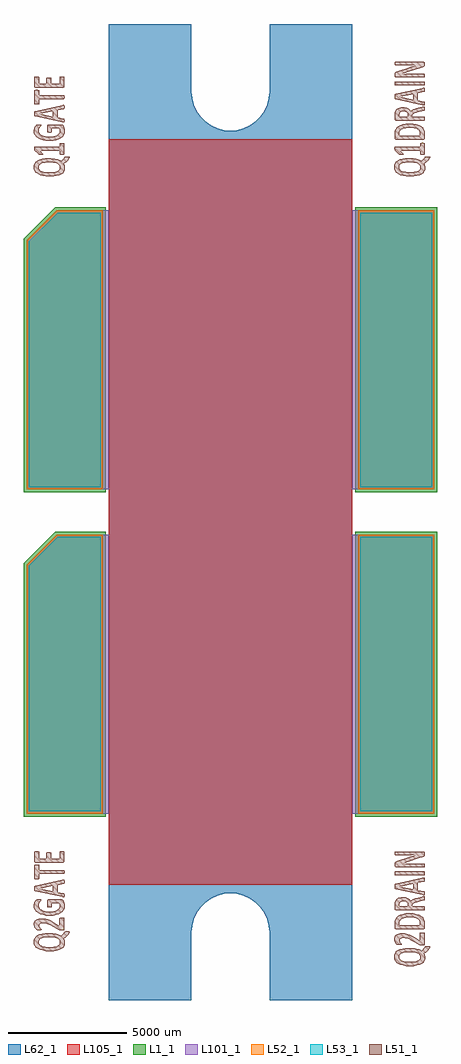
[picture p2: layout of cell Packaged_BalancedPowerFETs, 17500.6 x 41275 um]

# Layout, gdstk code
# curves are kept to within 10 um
import gdstk
lib = gdstk.Library(unit=1e-6, precision=1e-09)
def R(c, l, rs):  # rectangles x0, y0, x1, y1
    for r in rs: c.add(gdstk.rectangle(r[:2], r[2:], *l))
def P(c, l, *ps):  # polygons
    for p in ps: c.add(gdstk.Polygon(p, *l))
L1_1 = (1, 1)
L51_1 = (51, 1)
L52_1 = (52, 1)
L53_1 = (53, 1)
L62_1 = (62, 1)
L101_1 = (101, 1)
L105_1 = (105, 1)

packaged_balancedpowerfe = lib.new_cell('Packaged_BalancedPowerFETs')
R(packaged_balancedpowerfe, L1_1, [(10414,-12890.5,13893.8,-825.5), (10414,825.5,13893.8,12890.5)])
P(packaged_balancedpowerfe, L1_1, [(-3606.8,825.5),(-3606.8,11546.078),(-2262.378,12890.5),(-127,12890.5),(-127,825.5)],
  [(-3606.8,-12890.5),(-3606.8,-2169.922),(-2262.378,-825.5),(-127,-825.5),(-127,-12890.5)])
P(packaged_balancedpowerfe, L51_1, [(13435.711,-18364.073),(13364.972,-18383.885),(13324.713,-18448.401),(13216.636,-18546.445),(13070.205,-18481.294),(12792.075,-18439.765),(12541.504,-18439.765),(12299.823,-18488.787),(12141.581,-18583.656),(12065,-18722.086),(12065,-18907.633),(12157.329,-19052.159),(12329.287,-19150.203),(12575.921,-19199.86),(12900.152,-19199.86),(13146.786,-19153.378),(13306.044,-19060.287),(13323.189,-19028.664),(12627.991,-19028.664),(12467.844,-19008.09),(12347.956,-18958.56),(12277.217,-18877.788),(12277.217,-18758.027),(12341.098,-18678.652),(12458.065,-18630.9),(12621.133,-18610.961),(12812.776,-18610.961),(12975.844,-18631.535),(13097.764,-18681.192),(13168.503,-18761.837),(13168.503,-18882.233),(13106.527,-18961.608),(12988.671,-19008.725),(12821.539,-19028.664),(13323.189,-19028.664),(13381.736,-18920.587),(13381.736,-18777.331),(13330.555,-18667.476),(13487.781,-18553.303),(13589,-18409.92),(13589,-18384.52),(13558.52,-18368.391)],
  [(13435.711,15033.244),(13364.972,15013.432),(13324.713,14948.916),(13216.636,14850.872),(13070.205,14916.023),(12792.075,14957.552),(12541.504,14957.552),(12299.823,14908.53),(12141.581,14813.661),(12065,14675.231),(12065,14489.684),(12157.329,14345.158),(12329.287,14247.114),(12575.921,14197.457),(12900.152,14197.457),(13146.786,14243.939),(13306.044,14337.03),(13323.189,14368.653),(12627.991,14368.653),(12467.844,14389.227),(12347.956,14438.757),(12277.217,14519.529),(12277.217,14639.29),(12341.098,14718.665),(12458.065,14766.417),(12621.133,14786.356),(12812.776,14786.356),(12975.844,14765.782),(13097.764,14716.125),(13168.503,14635.48),(13168.503,14515.084),(13106.527,14435.709),(12988.671,14388.592),(12821.539,14368.653),(13323.189,14368.653),(13381.736,14476.73),(13381.736,14619.986),(13330.555,14729.841),(13487.781,14844.014),(13589,14987.397),(13589,15012.797),(13558.52,15028.926)],
  [(-1804.289,-17736.82),(-1875.028,-17756.632),(-1915.287,-17820.894),(-2023.364,-17918.43),(-2169.795,-17853.533),(-2447.925,-17812.258),(-2698.496,-17812.258),(-2940.177,-17861.026),(-3098.419,-17955.514),(-3175,-18093.182),(-3175,-18277.84),(-3082.671,-18421.858),(-2910.713,-18519.394),(-2664.079,-18568.797),(-2339.848,-18568.797),(-2093.214,-18522.442),(-1933.956,-18429.859),(-1916.811,-18398.363),(-2612.009,-18398.363),(-2772.156,-18377.916),(-2892.044,-18328.513),(-2962.783,-18248.249),(-2962.783,-18128.996),(-2898.902,-18050.002),(-2781.935,-18002.377),(-2618.867,-17982.692),(-2427.224,-17982.692),(-2264.156,-18003.012),(-2142.236,-18052.415),(-2071.497,-18132.806),(-2071.497,-18252.567),(-2133.473,-18331.561),(-2251.329,-18378.551),(-2418.461,-18398.363),(-1916.811,-18398.363),(-1858.264,-18290.921),(-1858.264,-18148.173),(-1909.445,-18038.826),(-1752.219,-17925.161),(-1651,-17782.54),(-1651,-17757.267),(-1681.48,-17741.138)],
  [(-1804.289,15029.18),(-1875.028,15009.368),(-1915.287,14945.106),(-2023.364,14847.57),(-2169.795,14912.467),(-2447.925,14953.742),(-2698.496,14953.742),(-2940.177,14904.974),(-3098.419,14810.486),(-3175,14672.818),(-3175,14488.16),(-3082.671,14344.142),(-2910.713,14246.606),(-2664.079,14197.203),(-2339.848,14197.203),(-2093.214,14243.558),(-1933.956,14336.141),(-1916.811,14367.637),(-2612.009,14367.637),(-2772.156,14388.084),(-2892.044,14437.487),(-2962.783,14517.751),(-2962.783,14637.004),(-2898.902,14715.998),(-2781.935,14763.623),(-2618.867,14783.308),(-2427.224,14783.308),(-2264.156,14762.988),(-2142.236,14713.585),(-2071.497,14633.194),(-2071.497,14513.433),(-2133.473,14434.439),(-2251.329,14387.449),(-2418.461,14367.637),(-1916.811,14367.637),(-1858.264,14475.079),(-1858.264,14617.827),(-1909.445,14727.174),(-1752.219,14840.839),(-1651,14983.46),(-1651,15008.733),(-1681.48,15024.862)],
  [(12135.739,-15720.06),(12095.48,-15734.411),(12084.685,-15758.541),(12084.685,-15908.655),(12116.054,-15940.405),(13295.249,-16199.104),(13359.13,-16190.468),(13364.972,-16102.965),(13350.24,-16052.038),(13069.189,-15990.57),(13069.189,-15954.629),(12870.688,-15954.629),(12330.303,-15841.091),(12870.688,-15726.918),(12870.688,-15954.629),(13069.189,-15954.629),(13069.189,-15689.072),(13353.161,-15625.191),(13364.972,-15509.113),(13360.019,-15474.315),(13339.445,-15460.726)],
  [(12135.739,17677.257),(12095.48,17662.906),(12084.685,17638.776),(12084.685,17488.662),(12116.054,17456.912),(13295.249,17198.213),(13359.13,17206.849),(13364.972,17294.352),(13350.24,17345.279),(13069.189,17406.747),(13069.189,17442.688),(12870.688,17442.688),(12330.303,17556.226),(12870.688,17670.399),(12870.688,17442.688),(13069.189,17442.688),(13069.189,17708.245),(13353.161,17772.126),(13364.972,17888.204),(13360.019,17923.002),(13339.445,17936.591)],
  [(-3104.261,-15808.579),(-3144.52,-15822.803),(-3155.315,-15846.933),(-3155.315,-15996.412),(-3123.946,-16027.908),(-1944.751,-16285.464),(-1880.87,-16276.828),(-1875.028,-16189.706),(-1889.76,-16139.033),(-2170.811,-16077.946),(-2170.811,-16042.132),(-2369.312,-16042.132),(-2909.697,-15929.102),(-2369.312,-15815.437),(-2369.312,-16042.132),(-2170.811,-16042.132),(-2170.811,-15777.718),(-1886.839,-15714.091),(-1875.028,-15598.648),(-1879.981,-15563.977),(-1900.555,-15550.388)],
  [(-3104.261,16957.421),(-3144.52,16943.197),(-3155.315,16919.067),(-3155.315,16769.588),(-3123.946,16738.092),(-1944.751,16480.536),(-1880.87,16489.172),(-1875.028,16576.294),(-1889.76,16626.967),(-2170.811,16688.054),(-2170.811,16723.868),(-2369.312,16723.868),(-2909.697,16836.898),(-2369.312,16950.563),(-2369.312,16723.868),(-2170.811,16723.868),(-2170.811,16988.282),(-1886.839,17051.909),(-1875.028,17167.352),(-1879.981,17202.023),(-1900.555,17215.612)],
  [(-3004.058,-16381.095),(-3081.655,-16405.225),(-3151.378,-16510.889),(-3173.984,-16596.106),(-3173.984,-16742.41),(-3081.655,-16896.207),(-2907.792,-17004.919),(-2659.126,-17064.228),(-2351.532,-17064.228),(-2112.772,-17008.602),(-1946.783,-16903.7),(-1859.28,-16752.316),(-1869.186,-16559.022),(-1941.83,-16395.954),(-1986.026,-16383),(-2541.27,-16383),(-2604.135,-16416.401),(-2604.135,-16701.643),(-2593.34,-16710.406),(-2452.751,-16719.677),(-2408.555,-16707.231),(-2408.555,-16544.798),(-2113.788,-16544.798),(-2074.545,-16620.744),(-2074.545,-16703.548),(-2131.441,-16795.623),(-2243.455,-16861.028),(-2409.571,-16897.477),(-2617.851,-16897.477),(-2781.935,-16861.663),(-2898.902,-16794.988),(-2962.783,-16701.135),(-2962.783,-16588.74),(-2927.35,-16506.571),(-2850.769,-16397.859)],
  [(-3004.058,16384.905),(-3081.655,16360.775),(-3151.378,16255.111),(-3173.984,16169.894),(-3173.984,16023.59),(-3081.655,15869.793),(-2907.792,15761.081),(-2659.126,15701.772),(-2351.532,15701.772),(-2112.772,15757.398),(-1946.783,15862.3),(-1859.28,16013.684),(-1869.186,16206.978),(-1941.83,16370.046),(-1986.026,16383),(-2541.27,16383),(-2604.135,16349.599),(-2604.135,16064.357),(-2593.34,16055.594),(-2452.751,16046.323),(-2408.555,16058.769),(-2408.555,16221.202),(-2113.788,16221.202),(-2074.545,16145.256),(-2074.545,16062.452),(-2131.441,15970.377),(-2243.455,15904.972),(-2409.571,15868.523),(-2617.851,15868.523),(-2781.935,15904.337),(-2898.902,15971.012),(-2962.783,16064.865),(-2962.783,16177.26),(-2927.35,16259.429),(-2850.769,16368.141)],
  [(12125.96,19038.57),(12100.433,19032.474),(12083.669,18988.405),(12088.622,18916.396),(12116.054,18891.504),(13008.229,18895.314),(12129.897,18604.23),(12087.606,18546.572),(12087.606,18410.682),(12133.834,18376.519),(13332.587,18376.519),(13359.13,18398.871),(13359.13,18499.963),(13332.587,18523.585),(12371.578,18518.632),(13310.87,18827.623),(13347.319,18854.293),(13361.035,18885.916),(13361.035,18989.04),(13326.618,19028.664)],
  [(12125.96,-14358.747),(12100.433,-14364.843),(12083.669,-14408.912),(12088.622,-14480.921),(12116.054,-14505.813),(13008.229,-14502.003),(12129.897,-14793.087),(12087.606,-14850.745),(12087.606,-14986.635),(12133.834,-15020.798),(13332.587,-15020.798),(13359.13,-14998.446),(13359.13,-14897.354),(13332.587,-14873.732),(12371.578,-14878.685),(13310.87,-14569.694),(13347.319,-14543.024),(13361.035,-14511.401),(13361.035,-14408.277),(13326.618,-14368.653)],
  [(12553.315,16418.179),(12323.445,16364.839),(12167.235,16262.477),(12087.606,16112.998),(12087.606,15779.115),(12125.96,15751.175),(13320.776,15751.175),(13359.13,15779.115),(13359.13,15913.735),(12290.044,15913.735),(12290.044,16071.342),(12353.925,16163.798),(12467.844,16222.726),(12623.165,16249.396),(12823.571,16249.396),(12988.671,16219.043),(13099.669,16157.575),(13154.66,16065.754),(13154.66,15913.735),(13359.13,15913.735),(13359.13,16098.012),(13285.343,16252.571),(13128.117,16360.521),(12879.578,16418.179)],
  [(12553.315,-16979.138),(12323.445,-17032.478),(12167.235,-17134.84),(12087.606,-17284.319),(12087.606,-17618.202),(12125.96,-17646.142),(13320.776,-17646.142),(13359.13,-17618.202),(13359.13,-17483.582),(12290.044,-17483.582),(12290.044,-17325.975),(12353.925,-17233.519),(12467.844,-17174.591),(12623.165,-17147.921),(12823.571,-17147.921),(12988.671,-17178.274),(13099.669,-17239.742),(13154.66,-17331.563),(13154.66,-17483.582),(13359.13,-17483.582),(13359.13,-17299.305),(13285.343,-17144.746),(13128.117,-17036.796),(12879.578,-16979.138)],
  [(-3075.813,-14918.055),(-3152.394,-14936.47),(-3152.394,-15511.526),(-3141.599,-15520.162),(-3017.774,-15529.433),(-2941.193,-15511.526),(-2941.193,-15305.278),(-1906.524,-15305.278),(-1880.87,-15278.735),(-1880.87,-15168.753),(-1906.524,-15142.21),(-2941.193,-15142.21),(-2941.193,-14936.47),(-2977.515,-14921.103)],
  [(-3075.813,17847.945),(-3152.394,17829.53),(-3152.394,17254.474),(-3141.599,17245.838),(-3017.774,17236.567),(-2941.193,17254.474),(-2941.193,17460.722),(-1906.524,17460.722),(-1880.87,17487.265),(-1880.87,17597.247),(-1906.524,17623.79),(-2941.193,17623.79),(-2941.193,17829.53),(-2977.515,17844.897)],
  [(13315.823,-16249.396),(12876.657,-16369.157),(12767.564,-16446.754),(12687.935,-16351.123),(12605.385,-16311.372),(12500.229,-16290.925),(12360.783,-16290.925),(12243.816,-16319.5),(12158.345,-16373.475),(12105.259,-16451.072),(12087.606,-16557.117),(12087.606,-16817.086),(12125.96,-16845.026),(13333.476,-16845.026),(13349.224,-16837.66),(13364.972,-16787.368),(13359.13,-16708.501),(13333.476,-16681.831),(12285.091,-16681.831),(12285.091,-16580.739),(12313.539,-16495.776),(12400.026,-16459.708),(12504.166,-16459.708),(12571.095,-16477.107),(12619.228,-16511.905),(12645.771,-16563.975),(12645.771,-16681.831),(12839.319,-16681.831),(12839.319,-16604.869),(12864.846,-16565.245),(12914.884,-16534.765),(13350.24,-16415.004),(13364.972,-16365.982),(13361.035,-16272.891),(13351.256,-16254.349)],
  [(13315.823,17147.921),(12876.657,17028.16),(12767.564,16950.563),(12687.935,17046.194),(12605.385,17085.945),(12500.229,17106.392),(12360.783,17106.392),(12243.816,17077.817),(12158.345,17023.842),(12105.259,16946.245),(12087.606,16840.2),(12087.606,16580.231),(12125.96,16552.291),(13333.476,16552.291),(13349.224,16559.657),(13364.972,16609.949),(13359.13,16688.816),(13333.476,16715.486),(12285.091,16715.486),(12285.091,16816.578),(12313.539,16901.541),(12400.026,16937.609),(12504.166,16937.609),(12571.095,16920.21),(12619.228,16885.412),(12645.771,16833.342),(12645.771,16715.486),(12839.319,16715.486),(12839.319,16792.448),(12864.846,16832.072),(12914.884,16862.552),(13350.24,16982.313),(13364.972,17031.335),(13361.035,17124.426),(13351.256,17142.968)],
  [(13226.415,-17784.445),(13149.834,-17806.162),(13149.834,-18128.869),(12886.436,-17964.404),(12718.415,-17878.806),(12579.858,-17831.689),(12459.97,-17816.83),(12327.382,-17816.83),(12204.573,-17847.183),(12115.165,-17909.286),(12065,-18002.885),(12065,-18105.247),(12122.912,-18239.359),(12159.361,-18280.888),(12210.923,-18304.51),(12354.814,-18305.145),(12394.184,-18292.064),(12297.918,-18150.586),(12297.918,-18087.975),(12322.429,-18049.494),(12365.736,-18023.967),(12491.466,-18011.013),(12663.424,-18050.129),(12776.454,-18100.929),(13135.991,-18309.463),(13218.541,-18323.052),(13328.65,-18317.464),(13359.13,-18285.206),(13359.13,-17803.749),(13322.681,-17787.62)],
  [(-2013.585,-17159.986),(-2090.166,-17181.576),(-2090.166,-17502.759),(-2353.564,-17339.056),(-2521.585,-17253.839),(-2660.142,-17206.976),(-2780.03,-17192.117),(-2912.618,-17192.117),(-3035.427,-17222.343),(-3124.835,-17284.065),(-3175,-17377.41),(-3175,-17479.264),(-3117.088,-17612.741),(-3040.38,-17675.733),(-2931.287,-17681.321),(-2845.816,-17665.192),(-2942.082,-17524.349),(-2942.082,-17461.992),(-2917.571,-17423.765),(-2874.264,-17398.365),(-2748.534,-17385.411),(-2576.576,-17424.273),(-2463.546,-17474.946),(-2104.009,-17682.464),(-2021.459,-17696.053),(-1911.35,-17690.465),(-1880.87,-17658.461),(-1880.87,-17179.163),(-1917.319,-17163.034)],
  [(13232.257,15605.379),(13159.613,15586.075),(13159.613,15449.677),(12100.433,15449.677),(12081.764,15429.738),(12082.653,15318.74),(12276.201,15126.335),(12311.634,15112.746),(12460.986,15125.7),(12332.208,15286.99),(13159.613,15286.99),(13159.613,15131.923),(13194.03,15116.429),(13326.618,15117.064),(13359.13,15132.558),(13359.13,15586.075),(13326.618,15601.696)],
  [(-2007.743,15598.648),(-2080.387,15579.471),(-2080.387,15443.581),(-3139.567,15443.581),(-3158.236,15423.769),(-3157.347,15313.279),(-2963.799,15121.763),(-2928.366,15108.174),(-2779.014,15121.128),(-2907.792,15281.783),(-2080.387,15281.783),(-2080.387,15127.351),(-2045.97,15111.857),(-1913.382,15112.492),(-1880.87,15127.986),(-1880.87,15579.471),(-1913.382,15594.838)],
  [(-2010.664,-14349.73),(-2083.308,-14368.272),(-2083.308,-14661.642),(-2441.956,-14661.642),(-2441.956,-14414.627),(-2511.806,-14396.085),(-2606.04,-14399.133),(-2639.441,-14414.627),(-2639.441,-14661.642),(-2949.956,-14661.642),(-2949.956,-14370.812),(-3022.727,-14352.905),(-3142.615,-14362.176),(-3152.394,-14795.754),(-3114.04,-14823.44),(-1919.224,-14823.44),(-1880.87,-14795.754),(-1880.87,-14368.272),(-1915.287,-14352.905)],
  [(-2010.664,18416.27),(-2083.308,18397.728),(-2083.308,18104.358),(-2441.956,18104.358),(-2441.956,18351.373),(-2511.806,18369.915),(-2606.04,18366.867),(-2639.441,18351.373),(-2639.441,18104.358),(-2949.956,18104.358),(-2949.956,18395.188),(-3022.727,18413.095),(-3142.615,18403.824),(-3152.394,17970.246),(-3114.04,17942.56),(-1919.224,17942.56),(-1880.87,17970.246),(-1880.87,18397.728),(-1915.287,18413.095)],
  [(12122.912,18201.513),(12097.385,18193.512),(12081.764,18143.855),(12087.606,18064.988),(12113.133,18037.683),(13333.476,18037.683),(13349.224,18045.811),(13364.972,18096.103),(13359.13,18174.843),(13333.476,18201.513)],
  [(12122.912,-15195.804),(12097.385,-15203.805),(12081.764,-15253.462),(12087.606,-15332.329),(12113.133,-15359.634),(13333.476,-15359.634),(13349.224,-15351.506),(13364.972,-15301.214),(13359.13,-15222.474),(13333.476,-15195.804)])
R(packaged_balancedpowerfe, L52_1, [(10541,-12763.5,13766.8,-952.5), (10541,952.5,13766.8,12763.5)])
P(packaged_balancedpowerfe, L52_1, [(-2209.673,12763.5),(-3479.8,11493.373),(-3479.8,952.5),(-254,952.5),(-254,12763.5)],
  [(-2209.673,-952.5),(-3479.8,-2222.627),(-3479.8,-12763.5),(-254,-12763.5),(-254,-952.5)])
R(packaged_balancedpowerfe, L53_1, [(10641,-12663.5,13666.8,-1052.5), (10641,1052.5,13666.8,12663.5)])
P(packaged_balancedpowerfe, L53_1, [(-3379.8,-12663.5),(-354,-12663.5),(-354,-1052.5),(-2168.252,-1052.5),(-3379.8,-2264.048)],
  [(-3379.8,1052.5),(-354,1052.5),(-354,12663.5),(-2168.252,12663.5),(-3379.8,11451.952)])
R(packaged_balancedpowerfe, L62_1, [(0,-15773.4,10287,15773.4)])
P(packaged_balancedpowerfe, L62_1, [(10287,-15773.4),(0,-15773.4),(0,-20637.5),(3492.5,-20637.5),(3492.5,-17780),(3517.9,-17492.98),(3591.56,-17216.12),(3713.48,-16954.5),(3878.58,-16718.28),(4081.78,-16515.08),(4318,-16349.98),(4579.62,-16228.06),(4856.48,-16154.4),(5143.5,-16129),(5430.52,-16154.4),(5707.38,-16228.06),(5969,-16349.98),(6205.22,-16515.08),(6408.42,-16718.28),(6573.52,-16954.5),(6695.44,-17216.12),(6769.1,-17492.98),(6794.5,-17780),(6794.5,-20637.5),(10287,-20637.5)],
  [(10287,15773.4),(0,15773.4),(0,20637.5),(3492.5,20637.5),(3492.5,17780),(3517.9,17492.98),(3591.56,17216.12),(3713.48,16954.5),(3878.58,16718.28),(4081.78,16515.08),(4318,16349.98),(4579.62,16228.06),(4856.48,16154.4),(5143.5,16129),(5430.52,16154.4),(5707.38,16228.06),(5969,16349.98),(6205.22,16515.08),(6408.42,16718.28),(6573.52,16954.5),(6695.44,17216.12),(6769.1,17492.98),(6794.5,17780),(6794.5,20637.5),(10287,20637.5)])
R(packaged_balancedpowerfe, L101_1, [(10287,-12763.5,13766.8,-952.5), (10287,952.5,13766.8,12763.5)])
P(packaged_balancedpowerfe, L101_1, [(-3479.8,-2222.5),(-2209.8,-952.5),(0,-952.5),(0,-12763.5),(-3479.8,-12763.5)],
  [(-3479.8,11493.5),(-2209.8,12763.5),(0,12763.5),(0,952.5),(-3479.8,952.5)])
R(packaged_balancedpowerfe, L105_1, [(0,-15773.4,10287,15773.4)])

lib.write_gds('Packaged_BalancedPowerFETs.gds')
